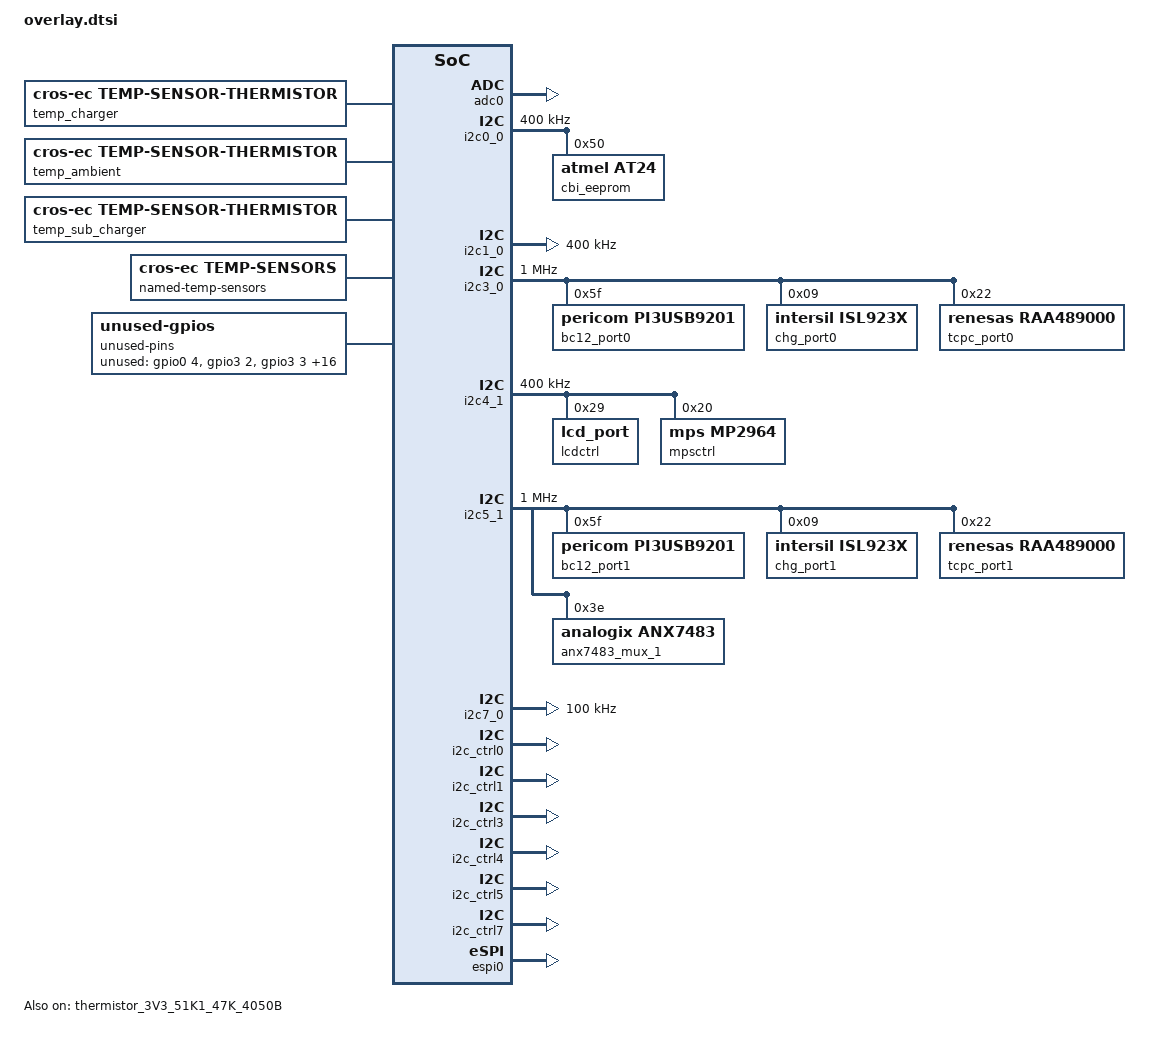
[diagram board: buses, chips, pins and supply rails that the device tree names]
/* Copyright 2025 The ChromiumOS Authors
 * Use of this source code is governed by a BSD-style license that can be
 * found in the LICENSE file.
 */

#include <cros/thermistor/thermistor.dtsi>
#include <dt-bindings/usbc_mux.h>
#include <dt-bindings/usb_pd_tcpm.h>

/ {

	named-adc-channels {
		compatible = "named-adc-channels";

		adc_ec_vsense_pp1050_proc: ec_vsense_pp1050_proc {
			enum-name = "ADC_PP1050_PROC";
			io-channels = <&adc0 4>;
		};
		adc_ec_vsense_pp3300_s5: ec_vsense_pp3300_s5 {
			enum-name = "ADC_PP3300_S5";
			io-channels = <&adc0 6>;
		};
		adc_temp_sensor_1: temp_sensor_1 {
			enum-name = "ADC_TEMP_SENSOR_1";
			io-channels = <&adc0 0>;
		};
		adc_temp_sensor_2: temp_sensor_2 {
			enum-name = "ADC_TEMP_SENSOR_2";
			io-channels = <&adc0 1>;
		};
		adc_temp_sensor_3: temp_sensor_3 {
			enum-name = "ADC_TEMP_SENSOR_3";
			io-channels = <&adc0 10>;
		};
		adc_temp_sensor_4: temp_sensor_4 {
			enum-name = "ADC_TEMP_SENSOR_4";
			io-channels = <&adc0 11>;
		};
	};

	aliases {
		gpio-cbi-wp = &gpio_ec_cbi_wp;
		gpio-wp = &gpio_ec_wp_odl;
		int-wp = &int_wp_l;
		gpio-kbd-kso2 = &gpio_ec_kso_02_inv;
	};

	ec-console {
		compatible = "ec-console";
		disabled = "events", "lpc", "hostcmd";
	};

	batteries {
		default_battery: sdi {
			compatible = "sdi,4404d57", "battery-smart";
		};
	};

	hibernate-wake-pins {
		compatible = "cros-ec,hibernate-wake-pins";
		wakeup-irqs = <
			&int_power_button
			&int_lid_open
		>;
	};

	gpio-interrupts {
		compatible = "cros-ec,gpio-interrupts";

		int_power_button: power_button {
			irq-pin = <&gpio_gsc_ec_pwr_btn_odl>;
			flags = <GPIO_INT_EDGE_BOTH>;
			handler = "power_button_interrupt";
		};
		int_wp_l: wp_l {
			irq-pin = <&gpio_ec_wp_odl>;
			flags = <GPIO_INT_EDGE_BOTH>;
			handler = "switch_interrupt";
		};
		int_lid_open: lid_open {
			irq-pin = <&gpio_lid_open>;
			flags = <GPIO_INT_EDGE_BOTH>;
			handler = "lid_interrupt";
		};
		int_imu: ec_imu {
			irq-pin = <&gpio_imu_int_l>;
			flags = <GPIO_INT_EDGE_FALLING>;
			handler = "lsm6dsm_interrupt";
		};
		int_vol_down: vol_down {
			irq-pin = <&gpio_voldn_btn_odl>;
			flags = <GPIO_INT_EDGE_BOTH>;
			handler = "button_interrupt";
		};
		int_vol_up: vol_up {
			irq-pin = <&gpio_volup_btn_odl>;
			flags = <GPIO_INT_EDGE_BOTH>;
			handler = "button_interrupt";
		};
		int_usb_c0: usb_c0 {
			irq-pin = <&gpio_usb_c0_int_odl>;
			flags = <GPIO_INT_EDGE_FALLING>;
			handler = "usb_interrupt";
		};
		int_usb_c1: usb_c1 {
			irq-pin = <&gpio_sb_1>;
			flags = <GPIO_INT_EDGE_FALLING>;
			handler = "usb_interrupt";
		};
		int_pannel_power_change: pannel_power_change {
			irq-pin = <&gpio_ec_en_pp1800_panel_x>;
			flags = <GPIO_INT_EDGE_BOTH>;
			handler = "panel_power_change_interrupt";
		};
		int_lcd_rst_n: lcd_rst_n {
			irq-pin = <&gpio_lcd_rst_n>;
			flags = <GPIO_INT_EDGE_FALLING>;
			handler = "lcd_reset_change_interrupt";
		};
	};

	named-gpios {
		compatible = "named-gpios";

		gpio_acc_int_l: acc_int_l {
			gpios = <&gpio5 0 GPIO_INPUT>;
		};
		gpio_all_sys_pwrgd: all_sys_pwrgd {
			gpios = <&gpioa 7 GPIO_INPUT>;
		};
		gpio_ccd_mode_odl: ccd_mode_odl {
			gpios = <&gpioe 5 GPIO_INPUT>;
			enum-name = "GPIO_CCD_MODE_ODL";
		};
		gpio_cpu_c10_gate_l: cpu_c10_gate_l {
			gpios = <&gpio6 7 GPIO_INPUT>;
		};
		gpio_ec_battery_pres_odl: ec_battery_pres_odl {
			gpios = <&gpioa 3 GPIO_INPUT>;
			enum-name = "GPIO_BATT_PRES_ODL";
		};
		gpio_ec_cbi_wp: ec_cbi_wp {
			gpios = <&gpio7 4 GPIO_OUTPUT>;
		};
		gpio_ec_edp_bl_en_od: ec_edp_bl_en_od {
			gpios = <&gpiod 3 GPIO_ODR_HIGH>;
			enum-name = "GPIO_ENABLE_BACKLIGHT";
		};
		gpio_ec_entering_rw: ec_entering_rw {
			gpios = <&gpio0 3 GPIO_OUTPUT>;
			enum-name = "GPIO_ENTERING_RW";
		};
		gpio_ec_gsc_packet_mode: ec_gsc_packet_mode {
			gpios = <&gpio7 5 GPIO_OUTPUT>;
			enum-name = "GPIO_PACKET_MODE_EN";
		};
		gpio_ec_kso_02_inv: ec_kso_02_inv {
			gpios = <&gpio1 7 (GPIO_OUTPUT | GPIO_ACTIVE_HIGH)>;
		};
		gpio_ec_pch_wake_odl: ec_pch_wake_odl {
			gpios = <&gpiob 0 GPIO_ODR_LOW>;
		};
		gpio_ec_prochot_odl: ec_prochot_odl {
			gpios = <&gpiof 1 GPIO_ODR_HIGH>;
		};
		gpio_ec_soc_dsw_pwrok: ec_soc_dsw_pwrok {
			gpios = <&gpio6 1 GPIO_OUTPUT>;
		};
		gpio_ec_soc_hdmi_hpd: ec_soc_hdmi_hpd {
			gpios = <&gpioe 4 GPIO_OUTPUT>;
		};
		gpio_ec_soc_int_odl: ec_soc_int_odl {
			gpios = <&gpio8 0 GPIO_ODR_HIGH>;
			enum-name = "GPIO_EC_INT_L";
		};
		gpio_ec_soc_pch_pwrok_od: ec_soc_pch_pwrok_od {
			gpios = <&gpio7 2 GPIO_ODR_HIGH>;
		};
		gpio_ec_soc_pwr_btn_odl: ec_soc_pwr_btn_odl {
			gpios = <&gpioc 1 GPIO_ODR_HIGH>;
			enum-name = "GPIO_PCH_PWRBTN_L";
		};
		gpio_ec_soc_rsmrst_l: ec_soc_rsmrst_l {
			gpios = <&gpioa 6 GPIO_OUTPUT>;
		};
		gpio_ec_soc_rtcrst: ec_soc_rtcrst {
			gpios = <&gpio7 6 GPIO_OUTPUT>;
		};
		gpio_ec_soc_sys_pwrok: ec_soc_sys_pwrok {
			gpios = <&gpio3 7 GPIO_OUTPUT>;
		};
		gpio_ec_soc_vccst_pwrgd_od: ec_soc_vccst_pwrgd_od {
			gpios = <&gpioa 4 GPIO_ODR_HIGH>;
		};
		gpio_ec_wp_odl: ec_wp_odl {
			gpios = <&gpioa 1 (GPIO_INPUT | GPIO_ACTIVE_LOW)>;
		};
		gpio_en_pp3300_s5: en_pp3300_s5 {
			gpios = <&gpiob 6 GPIO_OUTPUT>;
			enum-name = "GPIO_TEMP_SENSOR_POWER";
		};
		gpio_en_pp5000_s5: en_pp5000_s5 {
			gpios = <&gpio4 0 GPIO_OUTPUT>;
		};
		gpio_en_slp_z: en_slp_z {
			gpios = <&gpioe 1 GPIO_OUTPUT>;
		};
		gpio_gsc_ec_pwr_btn_odl: gsc_ec_pwr_btn_odl {
			gpios = <&gpio0 0 GPIO_INPUT_PULL_UP>;
			enum-name = "GPIO_POWER_BUTTON_L";
		};
		gpio_imu_int_l: imu_int_l {
			gpios = <&gpio5 6 GPIO_INPUT>;
		};
		gpio_imvp91_vrrdy_od: imvp91_vrrdy_od {
			gpios = <&gpio4 3 GPIO_INPUT>;
		};
		gpio_lid_open: lid_open {
			gpios = <&gpiod 2 GPIO_INPUT>;
			enum-name = "GPIO_LID_OPEN";
		};
		gpio_soc_caterr_n: soc_caterr_n {
			gpios = <&gpio9 6 GPIO_INPUT>;
		};
		gpio_pg_pp1050_mem_s3_od: pg_pp1050_mem_s3_od {
			gpios = <&gpiof 0 GPIO_INPUT>;
		};
		gpio_pg_pp5000_s5_od: pg_pp5000_s5_od {
			gpios = <&gpio4 2 GPIO_INPUT>;
		};
		gpio_rsmrst_pwrgd_l: rsmrst_pwrgd_l {
			gpios = <&gpio9 4 GPIO_INPUT_PULL_UP>;
		};
		gpio_slp_s0_l: slp_s0_l {
			gpios = <&gpio9 7 GPIO_INPUT>;
		};
		gpio_slp_s3_l: slp_s3_l {
			gpios = <&gpioa 5 GPIO_INPUT>;
		};
		gpio_slp_s4_l: slp_s4_l {
			gpios = <&gpio7 0 GPIO_INPUT>;
		};
		gpio_slp_sus_l: slp_sus_l {
			gpios = <&gpio6 2 GPIO_INPUT>;
		};
		gpio_sys_rst_odl: sys_rst_odl {
			gpios = <&gpioc 5 GPIO_ODR_HIGH>;
		};
		gpio_usb_c0_int_odl: usb_c0_int_odl {
			gpios = <&gpio0 1 GPIO_INPUT_PULL_UP>;
		};
		gpio_vccin_aux_vid0: vccin_aux_vid0 {
			gpios = <&gpio9 2 (GPIO_INPUT | GPIO_VOLTAGE_1P8)>;
		};
		gpio_vccin_aux_vid1: vccin_aux_vid1 {
			gpios = <&gpioe 3 (GPIO_INPUT | GPIO_VOLTAGE_1P8)>;
		};
		gpio_voldn_btn_odl: voldn_btn_odl {
			gpios = <&gpioa 2 GPIO_INPUT_PULL_UP>;
			enum-name = "GPIO_VOLUME_DOWN_L";
		};
		gpio_volup_btn_odl: volup_btn_odl {
			gpios = <&gpio9 3 GPIO_INPUT_PULL_UP>;
			enum-name = "GPIO_VOLUME_UP_L";
		};
		gpio_ec_chg_led_r: ec_chg_led_r {
			gpios = <&gpioc 4 GPIO_OUTPUT_HIGH>;
		};
		gpio_ec_chg_led_g: ec_chg_led_g {
			gpios = <&gpioc 2 GPIO_OUTPUT_HIGH>;
		};
		gpio_ec_chg_led_b: ec_chg_led_b {
			gpios = <&gpioc 3 GPIO_OUTPUT_HIGH>;
		};
		gpio_ec_en_pp1800_panel_x: ec_en_pp1800_panel_x {
			gpios = <&gpio7 3 (GPIO_INPUT | GPIO_VOLTAGE_1P8)>;
		};
		gpio_ec_tsp_ta: ec_tsp_ta {
			gpios = <&gpio6 3 GPIO_OUTPUT_LOW>;
		};
		gpio_lcd_rst_n: lcd_rst_n {
			gpios = <&gpioa 0 (GPIO_INPUT | GPIO_VOLTAGE_1P8)>;
		};

		gpio_sb_1: sb-1 {
			gpios = <&gpio0 2 GPIO_INPUT>;
			no-auto-init;
		};

		gpio_sb_2: sb-2 {
			gpios = <&gpiod 4 GPIO_OUTPUT>;
			no-auto-init;
		};

		/*
		 * Set I2C pins for type C sub-board to be low voltage (I2C5_1).
		 * We do this for all boards, since the pins are 3.3V tolerant,
		 * and the only 2 types of sub-boards used on nivviks both have
		 * type-C ports on them.
		 */
		gpio_sb_3: sb-3 {
			gpios = <&gpiof 4 (GPIO_OPEN_DRAIN | GPIO_VOLTAGE_1P8)>;
			no-auto-init;
		};
		gpio_sb_4: sb-4 {
			gpios = <&gpiof 5 (GPIO_INPUT | GPIO_VOLTAGE_1P8)>;
			no-auto-init;
		};
		ec-i2c-sensor-scl {
			gpios = <&gpio9 0 (GPIO_INPUT | GPIO_VOLTAGE_1P8)>;
		};
		ec-i2c-sensor-sda {
			gpios = <&gpio8 7 (GPIO_INPUT | GPIO_VOLTAGE_1P8)>;
		};
	};

	named-i2c-ports {
		compatible = "named-i2c-ports";

		i2c_ec_i2c_eeprom: ec_i2c_eeprom {
			i2c-port = <&i2c0_0>;
			enum-names = "I2C_PORT_EEPROM";
		};
		i2c_ec_i2c_sensor: ec_i2c_sensor {
			i2c-port = <&i2c1_0>;
			enum-names = "I2C_PORT_SENSOR";
		};
		i2c_ec_i2c_usb_c0: ec_i2c_usb_c0 {
			i2c-port = <&i2c3_0>;
			enum-names = "I2C_PORT_USB_C0_TCPC";
		};
		i2c_lcd: lcd {
			i2c-port = <&i2c4_1>;
			enum-names = "I2C_PORT_LCD",
						"I2C_PORT_MP2964";
		};
		i2c_ec_i2c_sub_usb_c1: ec_i2c_sub_usb_c1 {
			i2c-port = <&i2c5_1>;
			enum-names = "I2C_PORT_USB_C1_TCPC";
		};
		i2c_ec_i2c_batt: ec_i2c_batt {
			i2c-port = <&i2c7_0>;
			enum-names = "I2C_PORT_BATTERY";
		};
	};

	/*
	 * Aliases used for sub-board GPIOs.
	 */
	aliases {
		/*
		 * Input GPIO when used with type-C port 1
		 * Output when used with HDMI sub-board
		 */
		gpio-usb-c1-int-odl = &gpio_sb_1;
		gpio-en-rails-odl = &gpio_sb_1;
		/*
		 * Sub-board with type A USB, enable.
		 */
		gpio-en-usb-a1-vbus = &gpio_sb_2;
		/*
		 * HPD pins for HDMI sub-board.
		 */
		/*
		gpio-hdmi-en-odl = &gpio_sb_3;
		gpio-hpd-odl = &gpio_sb_4;
		*/
		/*
		 * Enable S5 rails for LTE sub-board
		 */
		gpio-en-sub-s5-rails = &gpio_sb_2;
	};

	temp_memory: memory {
		compatible = "cros-ec,temp-sensor-thermistor";
		thermistor = <&thermistor_3V3_51K1_47K_4050B>;
		adc = <&adc_temp_sensor_1>;
	};
	temp_charger: charger {
		compatible = "cros-ec,temp-sensor-thermistor";
		thermistor = <&thermistor_3V3_51K1_47K_4050B>;
		adc = <&adc_temp_sensor_2>;
	};
	temp_ambient: ambient {
		compatible = "cros-ec,temp-sensor-thermistor";
		thermistor = <&thermistor_3V3_51K1_47K_4050B>;
		adc = <&adc_temp_sensor_3>;
	};
	temp_sub_charger: sub_charger {
		compatible = "cros-ec,temp-sensor-thermistor";
		thermistor = <&thermistor_3V3_51K1_47K_4050B>;
		adc = <&adc_temp_sensor_4>;
	};

	named-temp-sensors {
		compatible = "cros-ec,temp-sensors";
		memory {
			power-good-pin = <&gpio_ec_soc_dsw_pwrok>;
			sensor = <&temp_memory>;
		};
		charger {
			power-good-pin = <&gpio_ec_soc_dsw_pwrok>;
			sensor = <&temp_charger>;
		};
		ambient {
			power-good-pin = <&gpio_ec_soc_dsw_pwrok>;
			sensor = <&temp_ambient>;
		};
		sub_charger {
			power-good-pin = <&gpio_ec_soc_dsw_pwrok>;
			sensor = <&temp_sub_charger>;
		};
	};

	usbc {
		#address-cells = <1>;
		#size-cells = <0>;

		port0@0 {
			compatible = "named-usbc-port";
			reg = <0>;
			bc12 = <&bc12_port0>;
			chg = <&chg_port0>;
			tcpc = <&tcpc_port0>;
			usb-mux-chain-0 {
				compatible = "cros-ec,usb-mux-chain";
				usb-muxes = <&virtual_mux_0>;
			};
		};
		port0-muxes {
			virtual_mux_0: virtual-mux-0 {
				compatible = "cros-ec,usbc-mux-virtual";
			};
		};
		/*
		 * TODO(b:211693800): port1 may not be present on some
		 * sub-boards.
		 */
		port1@1 {
			compatible = "named-usbc-port";
			reg = <1>;
			bc12 = <&bc12_port1>;
			chg = <&chg_port1>;
			tcpc = <&tcpc_port1>;
			usb-mux-chain-1 {
				compatible = "cros-ec,usb-mux-chain";
				usb-muxes = <&virtual_mux_1 &anx7483_mux_1>;
			};
			usb_mux_chain_1_no_mux: usb-mux-chain-1-no-mux {
				compatible = "cros-ec,usb-mux-chain";
				alternative-chain;
				usb-muxes = <&virtual_mux_1>;
			};
		};
		port1-muxes {
			virtual_mux_1: virtual-mux-1 {
				compatible = "cros-ec,usbc-mux-virtual";
			};
		};
	};

	 /*
	  * Declare unused GPIOs so that they are shut down
	  * and use minimal power
	  */
	  unused-pins {
		compatible = "unused-gpios";
		unused-gpios =
			<&gpio0 4 0>,
			<&gpio3 2 0>,
			<&gpio3 3 0>,
			<&gpio3 5 0>,
			<&gpio3 6 0>,
			<&gpio5 7 0>,
			<&gpio6 0 0>,
			<&gpio6 6 0>,
			<&gpio8 2 0>,
			<&gpio8 3 0>,
			<&gpio8 6 0>,
			<&gpio9 1 0>,
			<&gpio9 5 0>,
			<&gpiob 1 0>,
			<&gpiob 7 0>,
			<&gpioc 0 0>,
			<&gpioc 6 0>,
			<&gpiod 5 0>,
			<&gpioe 2 0>;
	 };
};

&thermistor_3V3_51K1_47K_4050B {
	status = "okay";
};

&adc_ec_vsense_pp3300_s5 {
	/*
	 * Voltage divider on input has 47k upper and 220k lower legs with
	 * 2714 mV full-scale reading on the ADC. Apply the largest possible
	 * multiplier (without overflowing int32) to get the best possible
	 * approximation of the actual ratio, but derate by a factor of two to
	 * ensure unexpectedly high values won't overflow.
	 */
	mul = <(791261 / 2)>;
	div = <(651975 / 2)>;
};

&adc0 {
	status = "okay";
	pinctrl-0 = <&adc0_chan0_gp45
		     &adc0_chan1_gp44
		     &adc0_chan4_gp41
		     &adc0_chan6_gp34
		     &adc0_chan10_gpe0
		     &adc0_chan11_gpc7>;
	pinctrl-names = "default";
};

&i2c0_0 {
	status = "okay";
	pinctrl-0 = <&i2c0_0_sda_scl_gpb4_b5>;
	pinctrl-names = "default";
};

&i2c1_0 {
	status = "okay";
	pinctrl-0 = <&i2c1_0_sda_scl_gp87_90>;
	pinctrl-names = "default";
};

&i2c3_0 {
	status = "okay";
	pinctrl-0 = <&i2c3_0_sda_scl_gpd0_d1>;
	pinctrl-names = "default";
};

&i2c4_1 {
	status = "okay";
	pinctrl-0 = <&i2c4_1_sda_scl_gpf2_f3>;
	pinctrl-names = "default";
};

&i2c5_1 {
	status = "okay";
	pinctrl-0 = <&i2c5_1_sda_scl_gpf4_f5>;
	pinctrl-names = "default";
};

&i2c7_0 {
	status = "okay";
	pinctrl-0 = <&i2c7_0_sda_scl_gpb2_b3>;
	pinctrl-names = "default";
};

&i2c_ctrl0 {
	status = "okay";
};

&i2c_ctrl1 {
	status = "okay";
};

&i2c_ctrl3 {
	status = "okay";
};

&i2c_ctrl4 {
	status = "okay";
};

&i2c_ctrl5 {
	status = "okay";
};

&i2c_ctrl7 {
	status = "okay";
};

/* Set bus speeds for I2C */
&i2c0_0 {
	label = "I2C_EEPROM";
	clock-frequency = <I2C_BITRATE_FAST>;

	cbi_eeprom: eeprom@50 {
		compatible = "atmel,at24";
		reg = <0x50>;
		size = <2048>;
		pagesize = <16>;
		address-width = <8>;
		timeout = <5>;
	};
};

&i2c1_0 {
	label = "I2C_SENSOR";
	clock-frequency = <I2C_BITRATE_FAST>;
};

&i2c3_0 {
	label = "I2C_USB_C0_TCPC";
	clock-frequency = <I2C_BITRATE_FAST_PLUS>;

	bc12_port0: pi3usb9201@5f {
		compatible = "pericom,pi3usb9201";
		status = "okay";
		reg = <0x5f>;
		/*
		 * BC1.2 interrupt is shared with TCPC, so
		 * IRQ is not specified here and handled by
		 * usb_c0_interrupt.
		 */
	};

	chg_port0: isl923x@9 {
		compatible = "intersil,isl923x";
		status = "okay";
		reg = <0x9>;
	};

	tcpc_port0: raa489000@22 {
		compatible = "renesas,raa489000";
		reg = <0x22>;
		tcpc-flags = <(
			TCPC_FLAGS_TCPCI_REV2_0 |
			TCPC_FLAGS_VBUS_MONITOR)>;
	};
};

&i2c4_1 {
	label = "I2C_LCD";
	clock-frequency = <I2C_BITRATE_FAST>;

	lcdctrl: lcd_port@29 {
		reg = <0x29>;
	};

	mpsctrl: pmic_mp2964@20 {
		compatible = "mps,mp2964";
		reg = <0x20>;
	};
};

&i2c5_1 {
	label = "I2C_SUB_C1_TCPC";
	clock-frequency = <I2C_BITRATE_FAST_PLUS>;

	bc12_port1: pi3usb9201@5f {
		compatible = "pericom,pi3usb9201";
		status = "okay";
		reg = <0x5f>;
	};

	chg_port1: isl923x@9 {
		compatible = "intersil,isl923x";
		status = "okay";
		reg = <0x9>;
	};

	tcpc_port1: raa489000@22 {
		compatible = "renesas,raa489000";
		reg = <0x22>;
		tcpc-flags = <(
			TCPC_FLAGS_TCPCI_REV2_0 |
			TCPC_FLAGS_VBUS_MONITOR)>;
	};

	anx7483_mux_1: anx7483-mux-1@3e {
		compatible = "analogix,anx7483";
		reg = <0x3e>;
		board-set = "anx7483_set_default_tuning";
		flags = <USB_MUX_FLAG_RESETS_IN_G3>;
	};
};

&i2c7_0 {
	label = "I2C_BATTERY";
	clock-frequency = <I2C_BITRATE_STANDARD>;
};

/* host interface */
&espi0 {
	status = "okay";
	pinctrl-0 = <&espi_lpc_gp46_47_51_52_53_54_55_57>;
	pinctrl-names = "default";
};

/*
 * Declare GPIOs that have leakage current caused by board issues here. NPCX ec
 * will disable their input buffers before entering deep sleep and restore them
 * after waking up automatically for better power consumption.
 */
&power_leakage_io {
	leak-gpios = <&gpioa 4 GPIO_OPEN_DRAIN
		      &gpiof 1 GPIO_OPEN_DRAIN>;
};
